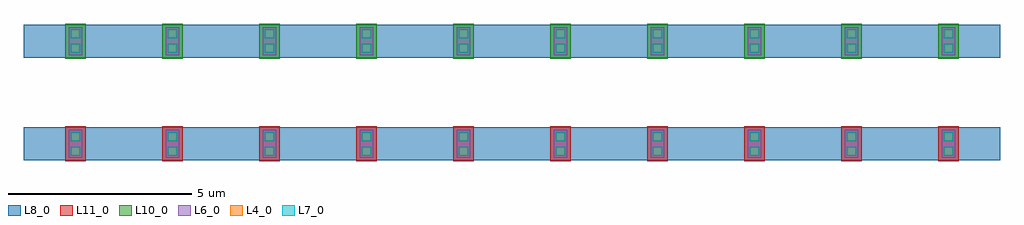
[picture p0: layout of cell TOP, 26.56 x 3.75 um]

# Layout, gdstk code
import gdstk
lib = gdstk.Library(unit=1e-6, precision=1e-09)
def R(c, l, rs):  # rectangles x0, y0, x1, y1
    for r in rs: c.add(gdstk.rectangle(r[:2], r[2:], *l))
def A(c, l, x, y, w, h, nx, ny, dx, dy):  # array of equal rectangles
    R(c, l, [(x+i*dx, y+j*dy, x+i*dx+w, y+j*dy+h) for i in range(nx) for j in range(ny)])
L4_0 = (4, 0)
L6_0 = (6, 0)
L7_0 = (7, 0)
L8_0 = (8, 0)
L10_0 = (10, 0)
L11_0 = (11, 0)

net_vss = lib.new_cell('NET_VSS')
R(net_vss, L4_0, [(-0.11,-0.31,0.11,-0.09), (-0.11,-0.31,0.11,-0.09), (2.53,-0.31,2.75,-0.09), (2.53,-0.31,2.75,-0.09), (5.17,-0.31,5.39,-0.09), (5.17,-0.31,5.39,-0.09), (7.81,-0.31,8.03,-0.09), (7.81,-0.31,8.03,-0.09), (10.45,-0.31,10.67,-0.09), (10.45,-0.31,10.67,-0.09), (13.09,-0.31,13.31,-0.09), (13.09,-0.31,13.31,-0.09), (15.73,-0.31,15.95,-0.09), (15.73,-0.31,15.95,-0.09), (18.37,-0.31,18.59,-0.09), (18.37,-0.31,18.59,-0.09), (21.01,-0.31,21.23,-0.09), (21.01,-0.31,21.23,-0.09), (23.65,-0.31,23.87,-0.09), (23.65,-0.31,23.87,-0.09), (-0.11,0.09,0.11,0.31), (-0.11,0.09,0.11,0.31), (2.53,0.09,2.75,0.31), (2.53,0.09,2.75,0.31), (5.17,0.09,5.39,0.31), (5.17,0.09,5.39,0.31), (7.81,0.09,8.03,0.31), (7.81,0.09,8.03,0.31), (10.45,0.09,10.67,0.31), (10.45,0.09,10.67,0.31), (13.09,0.09,13.31,0.31), (13.09,0.09,13.31,0.31), (15.73,0.09,15.95,0.31), (15.73,0.09,15.95,0.31), (18.37,0.09,18.59,0.31), (18.37,0.09,18.59,0.31), (21.01,0.09,21.23,0.31), (21.01,0.09,21.23,0.31), (23.65,0.09,23.87,0.31), (23.65,0.09,23.87,0.31)])
R(net_vss, L6_0, [(-0.18,-0.38,0.18,0.38), (-0.18,-0.38,0.18,0.38), (2.46,-0.38,2.82,0.38), (2.46,-0.38,2.82,0.38), (5.1,-0.38,5.46,0.38), (5.1,-0.38,5.46,0.38), (7.74,-0.38,8.1,0.38), (7.74,-0.38,8.1,0.38), (10.38,-0.38,10.74,0.38), (10.38,-0.38,10.74,0.38), (13.02,-0.38,13.38,0.38), (13.02,-0.38,13.38,0.38), (15.66,-0.38,16.02,0.38), (15.66,-0.38,16.02,0.38), (18.3,-0.38,18.66,0.38), (18.3,-0.38,18.66,0.38), (20.94,-0.38,21.3,0.38), (20.94,-0.38,21.3,0.38), (23.58,-0.38,23.94,0.38), (23.58,-0.38,23.94,0.38)])
A(net_vss, L7_0, -0.125, -0.325, 0.25, 0.25, 10, 2, 2.64, 0.4)
A(net_vss, L8_0, -1.4, -0.45, 2.8, 0.9, 10, 1, 2.64, 0)
R(net_vss, L11_0, [(-0.275,-0.475,0.275,0.475), (-0.275,-0.475,0.275,0.475), (-0.275,-0.475,0.275,0.475), (2.365,-0.475,2.915,0.475), (2.365,-0.475,2.915,0.475), (2.365,-0.475,2.915,0.475), (5.005,-0.475,5.555,0.475), (5.005,-0.475,5.555,0.475), (5.005,-0.475,5.555,0.475), (7.645,-0.475,8.195,0.475), (7.645,-0.475,8.195,0.475), (7.645,-0.475,8.195,0.475), (10.285,-0.475,10.835,0.475), (10.285,-0.475,10.835,0.475), (10.285,-0.475,10.835,0.475), (12.925,-0.475,13.475,0.475), (12.925,-0.475,13.475,0.475), (12.925,-0.475,13.475,0.475), (15.565,-0.475,16.115,0.475), (15.565,-0.475,16.115,0.475), (15.565,-0.475,16.115,0.475), (18.205,-0.475,18.755,0.475), (18.205,-0.475,18.755,0.475), (18.205,-0.475,18.755,0.475), (20.845,-0.475,21.395,0.475), (20.845,-0.475,21.395,0.475), (20.845,-0.475,21.395,0.475), (23.485,-0.475,24.035,0.475), (23.485,-0.475,24.035,0.475), (23.485,-0.475,24.035,0.475)])

net_vdd = lib.new_cell('NET_VDD')
R(net_vdd, L4_0, [(-0.11,2.49,0.11,2.71), (-0.11,2.49,0.11,2.71), (2.53,2.49,2.75,2.71), (2.53,2.49,2.75,2.71), (5.17,2.49,5.39,2.71), (5.17,2.49,5.39,2.71), (7.81,2.49,8.03,2.71), (7.81,2.49,8.03,2.71), (10.45,2.49,10.67,2.71), (10.45,2.49,10.67,2.71), (13.09,2.49,13.31,2.71), (13.09,2.49,13.31,2.71), (15.73,2.49,15.95,2.71), (15.73,2.49,15.95,2.71), (18.37,2.49,18.59,2.71), (18.37,2.49,18.59,2.71), (21.01,2.49,21.23,2.71), (21.01,2.49,21.23,2.71), (23.65,2.49,23.87,2.71), (23.65,2.49,23.87,2.71), (-0.11,2.89,0.11,3.11), (-0.11,2.89,0.11,3.11), (2.53,2.89,2.75,3.11), (2.53,2.89,2.75,3.11), (5.17,2.89,5.39,3.11), (5.17,2.89,5.39,3.11), (7.81,2.89,8.03,3.11), (7.81,2.89,8.03,3.11), (10.45,2.89,10.67,3.11), (10.45,2.89,10.67,3.11), (13.09,2.89,13.31,3.11), (13.09,2.89,13.31,3.11), (15.73,2.89,15.95,3.11), (15.73,2.89,15.95,3.11), (18.37,2.89,18.59,3.11), (18.37,2.89,18.59,3.11), (21.01,2.89,21.23,3.11), (21.01,2.89,21.23,3.11), (23.65,2.89,23.87,3.11), (23.65,2.89,23.87,3.11)])
R(net_vdd, L6_0, [(-0.18,2.42,0.18,3.18), (-0.18,2.42,0.18,3.18), (2.46,2.42,2.82,3.18), (2.46,2.42,2.82,3.18), (5.1,2.42,5.46,3.18), (5.1,2.42,5.46,3.18), (7.74,2.42,8.1,3.18), (7.74,2.42,8.1,3.18), (10.38,2.42,10.74,3.18), (10.38,2.42,10.74,3.18), (13.02,2.42,13.38,3.18), (13.02,2.42,13.38,3.18), (15.66,2.42,16.02,3.18), (15.66,2.42,16.02,3.18), (18.3,2.42,18.66,3.18), (18.3,2.42,18.66,3.18), (20.94,2.42,21.3,3.18), (20.94,2.42,21.3,3.18), (23.58,2.42,23.94,3.18), (23.58,2.42,23.94,3.18)])
A(net_vdd, L7_0, -0.125, 2.475, 0.25, 0.25, 10, 2, 2.64, 0.4)
A(net_vdd, L8_0, -1.4, 2.35, 2.8, 0.9, 10, 1, 2.64, 0)
R(net_vdd, L10_0, [(-0.275,2.325,0.275,3.275), (-0.275,2.325,0.275,3.275), (-0.275,2.325,0.275,3.275), (2.365,2.325,2.915,3.275), (2.365,2.325,2.915,3.275), (2.365,2.325,2.915,3.275), (5.005,2.325,5.555,3.275), (5.005,2.325,5.555,3.275), (5.005,2.325,5.555,3.275), (7.645,2.325,8.195,3.275), (7.645,2.325,8.195,3.275), (7.645,2.325,8.195,3.275), (10.285,2.325,10.835,3.275), (10.285,2.325,10.835,3.275), (10.285,2.325,10.835,3.275), (12.925,2.325,13.475,3.275), (12.925,2.325,13.475,3.275), (12.925,2.325,13.475,3.275), (15.565,2.325,16.115,3.275), (15.565,2.325,16.115,3.275), (15.565,2.325,16.115,3.275), (18.205,2.325,18.755,3.275), (18.205,2.325,18.755,3.275), (18.205,2.325,18.755,3.275), (20.845,2.325,21.395,3.275), (20.845,2.325,21.395,3.275), (20.845,2.325,21.395,3.275), (23.485,2.325,24.035,3.275), (23.485,2.325,24.035,3.275), (23.485,2.325,24.035,3.275)])

top = lib.new_cell('TOP')
top.add(gdstk.Reference(net_vss, (0,0)))
top.add(gdstk.Reference(net_vdd, (0,0)))

lib.write_gds('TOP.gds')
